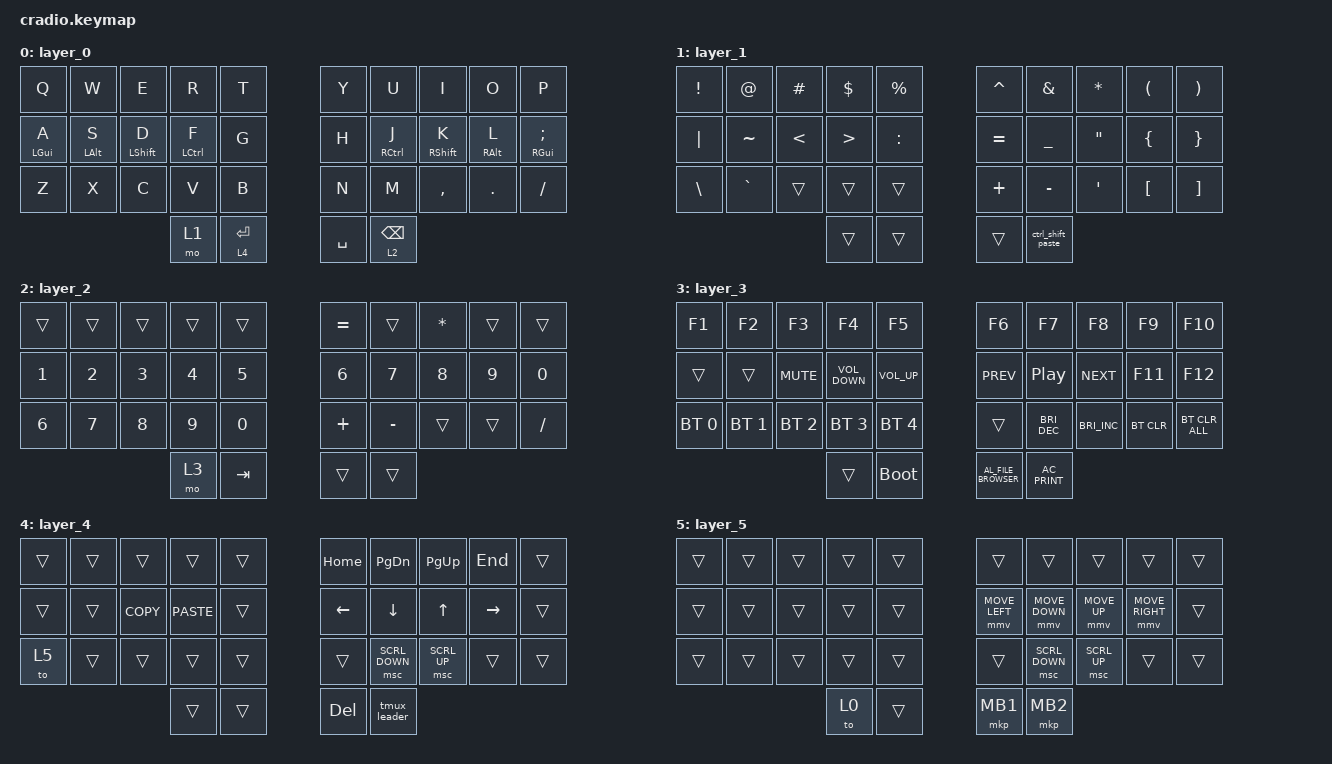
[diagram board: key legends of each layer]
// Copyright (c) 2022 The ZMK Contributors
// SPDX-License-Identifier: MIT

#define ZMK_POINTING_DEFAULT_MOVE_VAL 1100  // default: 600
#define ZMK_POINTING_DEFAULT_SCRL_VAL 30    // default: 10

#include <behaviors.dtsi>
#include <dt-bindings/zmk/bt.h>
#include <dt-bindings/zmk/keys.h>
#include <dt-bindings/zmk/pointing.h>

/* Adjusted Cradio pin arrangement */

&kscan0 {
    input-gpios =
        <&pro_micro  6 (GPIO_ACTIVE_LOW | GPIO_PULL_UP)>,
        <&pro_micro 18 (GPIO_ACTIVE_LOW | GPIO_PULL_UP)>,
        <&pro_micro 19 (GPIO_ACTIVE_LOW | GPIO_PULL_UP)>,
        <&pro_micro 20 (GPIO_ACTIVE_LOW | GPIO_PULL_UP)>,
        <&pro_micro 21 (GPIO_ACTIVE_LOW | GPIO_PULL_UP)>,
        <&pro_micro 15 (GPIO_ACTIVE_LOW | GPIO_PULL_UP)>,
        <&pro_micro 14 (GPIO_ACTIVE_LOW | GPIO_PULL_UP)>,
        <&pro_micro 16 (GPIO_ACTIVE_LOW | GPIO_PULL_UP)>,
        <&pro_micro 10 (GPIO_ACTIVE_LOW | GPIO_PULL_UP)>,
        <&pro_micro  1 (GPIO_ACTIVE_LOW | GPIO_PULL_UP)>,
        <&pro_micro  2 (GPIO_ACTIVE_LOW | GPIO_PULL_UP)>,
        <&pro_micro  3 (GPIO_ACTIVE_LOW | GPIO_PULL_UP)>,
        <&pro_micro  4 (GPIO_ACTIVE_LOW | GPIO_PULL_UP)>,
        <&pro_micro  5 (GPIO_ACTIVE_LOW | GPIO_PULL_UP)>,
        <&pro_micro  7 (GPIO_ACTIVE_LOW | GPIO_PULL_UP)>,
        <&pro_micro  9 (GPIO_ACTIVE_LOW | GPIO_PULL_UP)>,
        <&pro_micro  8 (GPIO_ACTIVE_LOW | GPIO_PULL_UP)>;
};

&mt { flavor = "tap-preferred"; };

/ {
    combos {
        compatible = "zmk,combos";

        caps_lock {
            bindings = <&kp CAPSLOCK>;
            key-positions = <14 15>;
            layers = <0>;
        };

        esc_combo {
            bindings = <&kp ESCAPE>;
            key-positions = <16 17>;
            layers = <0>;
            timeout-ms = <220>;
        };

        caps_combo {
            bindings = <&caps_word>;
            key-positions = <31 30>;
            layers = <0>;
        };
    };

    macros {
        tmux_leader: tmux_leader {
            compatible = "zmk,behavior-macro";
            #binding-cells = <0>;
            bindings =
                <&macro_press>,
                <&kp RCTRL>,
                <&macro_tap>,
                <&kp A>,
                <&macro_release>,
                <&kp RCTRL>,
                <&macro_wait_time 10>;

            label = "TMUX_LEADER";
        };

        ctrl_shift_paste: ctrl_shift_paste {
            compatible = "zmk,behavior-macro";
            #binding-cells = <0>;
            bindings =
                <&macro_press>,
                <&kp LCTRL>,
                <&macro_press>,
                <&kp LEFT_SHIFT>,
                <&macro_tap>,
                <&kp V>,
                <&macro_release>,
                <&kp LSHFT>,
                <&macro_release>,
                <&kp LCTRL>,
                <&macro_wait_time 10>;

            label = "CTRL_SHIFT_PASTE";
        };
    };

    behaviors {
        hm: hm {
            compatible = "zmk,behavior-hold-tap";
            label = "HOMEROW_MODS";
            bindings = <&kp>, <&kp>;

            #binding-cells = <2>;
            tapping-term-ms = <200>;
            quick-tap-ms = <0>;
            flavor = "tap-preferred";
        };

        hm_shift: hm_shift {
            compatible = "zmk,behavior-hold-tap";
            label = "HM_SHIFT";
            bindings = <&kp>, <&kp>;

            #binding-cells = <2>;
            tapping-term-ms = <160>;
            flavor = "balanced";
        };
    };

    keymap {
        compatible = "zmk,keymap";

        layer_0 {
            bindings = <
&kp Q           &kp W       &kp E                   &kp R        &kp T          &kp Y      &kp U            &kp I                    &kp O            &kp P
&hm LEFT_GUI A  &hm LALT S  &hm_shift LEFT_SHIFT D  &hm LCTRL F  &kp G          &kp H      &hm RCTRL J      &hm_shift RIGHT_SHIFT K  &hm RIGHT_ALT L  &hm RIGHT_GUI SEMICOLON
&kp Z           &kp X       &kp C                   &kp V        &kp B          &kp N      &kp M            &kp COMMA                &kp DOT          &kp FSLH
                                                    &mo 1        &lt 4 ENTER    &kp SPACE  &lt 2 BACKSPACE
            >;
        };

        layer_1 {
            bindings = <
&kp EXCLAMATION  &kp AT_SIGN  &kp POUND      &kp DOLLAR        &kp PERCENT    &kp CARET  &kp AMPERSAND      &kp ASTERISK       &kp LEFT_PARENTHESIS  &kp RIGHT_PARENTHESIS
&kp PIPE         &kp TILDE    &kp LESS_THAN  &kp GREATER_THAN  &kp COLON      &kp EQUAL  &kp UNDERSCORE     &kp DOUBLE_QUOTES  &kp LEFT_BRACE        &kp RIGHT_BRACE
&kp BACKSLASH    &kp GRAVE    &trans         &trans            &trans         &kp PLUS   &kp MINUS          &kp SQT            &kp LEFT_BRACKET      &kp RIGHT_BRACKET
                                             &trans            &trans         &trans     &ctrl_shift_paste
            >;
        };

        layer_2 {
            bindings = <
&trans  &trans  &trans  &trans  &trans     &kp EQUAL  &trans     &kp ASTERISK  &trans  &trans
&kp N1  &kp N2  &kp N3  &kp N4  &kp N5     &kp N6     &kp N7     &kp N8        &kp N9  &kp N0
&kp N6  &kp N7  &kp N8  &kp N9  &kp N0     &kp PLUS   &kp MINUS  &trans        &trans  &kp SLASH
                        &mo 3   &kp TAB    &trans     &trans
            >;
        };

        layer_3 {
            bindings = <
&kp F1        &kp F2        &kp F3        &kp F4             &kp F5             &kp F6                 &kp F7                &kp F8                &kp F9      &kp F10
&trans        &trans        &kp K_MUTE    &kp C_VOLUME_DOWN  &kp C_VOLUME_UP    &kp C_PREV             &kp C_PP              &kp C_NEXT            &kp F11     &kp F12
&bt BT_SEL 0  &bt BT_SEL 1  &bt BT_SEL 2  &bt BT_SEL 3       &bt BT_SEL 4       &trans                 &kp C_BRIGHTNESS_DEC  &kp C_BRIGHTNESS_INC  &bt BT_CLR  &bt BT_CLR_ALL
                                          &trans             &bootloader        &kp C_AL_FILE_BROWSER  &kp C_AC_PRINT
            >;
        };

        layer_4 {
            bindings = <
&trans  &trans  &trans      &trans       &trans    &kp HOME    &kp PAGE_DOWN   &kp PG_UP     &kp END    &trans
&trans  &trans  &kp K_COPY  &kp K_PASTE  &trans    &kp LEFT    &kp DOWN        &kp UP        &kp RIGHT  &trans
&to 5   &trans  &trans      &trans       &trans    &trans      &msc SCRL_DOWN  &msc SCRL_UP  &trans     &trans
                            &trans       &trans    &kp DELETE  &tmux_leader
            >;
        };

        layer_5 {
            bindings = <
&trans  &trans  &trans  &trans  &trans    &trans          &trans          &trans        &trans           &trans
&trans  &trans  &trans  &trans  &trans    &mmv MOVE_LEFT  &mmv MOVE_DOWN  &mmv MOVE_UP  &mmv MOVE_RIGHT  &trans
&trans  &trans  &trans  &trans  &trans    &trans          &msc SCRL_DOWN  &msc SCRL_UP  &trans           &trans
                        &to 0   &trans    &mkp MB1        &mkp MB2
            >;
        };
    };
};
